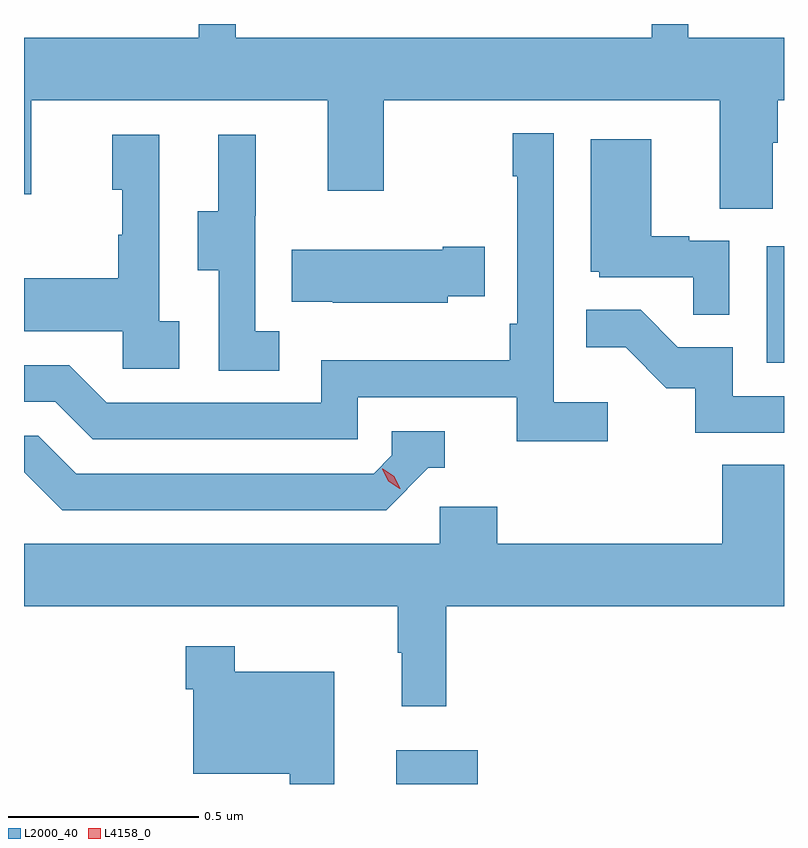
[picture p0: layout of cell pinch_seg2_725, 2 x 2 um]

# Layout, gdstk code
import gdstk
lib = gdstk.Library(unit=1e-6, precision=1e-09)
def R(c, l, rs):  # rectangles x0, y0, x1, y1
    for r in rs: c.add(gdstk.rectangle(r[:2], r[2:], *l))
def P(c, l, *ps):  # polygons
    for p in ps: c.add(gdstk.Polygon(p, *l))
L2000_40 = (2000, 40)
L4158_0 = (4158, 0)

pinch_seg2_725 = lib.new_cell('pinch_seg2_725')
R(pinch_seg2_725, L2000_40, [(1139.189,591.224,1139.404,591.313), (1140.164,592.332,1140.21,592.639)])
P(pinch_seg2_725, L2000_40, [(1140.181,592.912),(1140.194,592.912),(1140.194,593.024),(1140.21,593.024),(1140.21,593.188),(1139.958,593.188),(1139.958,593.224),(1139.862,593.224),(1139.862,593.188),(1138.767,593.188),(1138.767,593.224),(1138.67,593.224),(1138.67,593.188),(1138.21,593.188),(1138.21,592.776),(1138.229,592.776),(1138.229,593.024),(1139.009,593.024),(1139.009,592.785),(1139.157,592.785),(1139.157,593.024),(1140.041,593.024),(1140.041,592.738),(1140.181,592.738)],
  [(1139.746,592.228),(1139.604,592.228),(1139.604,592.936),(1139.496,592.936),(1139.496,592.823),(1139.508,592.823),(1139.508,592.435),(1139.488,592.435),(1139.488,592.339),(1138.992,592.339),(1138.992,592.227),(1138.428,592.227),(1138.329,592.326),(1138.21,592.326),(1138.21,592.23),(1138.292,592.23),(1138.391,592.131),(1139.088,592.131),(1139.088,592.242),(1139.507,592.242),(1139.507,592.126),(1139.746,592.126)],
  [(1138.882,592.415),(1138.818,592.415),(1138.818,592.719),(1138.82,592.719),(1138.82,592.933),(1138.721,592.933),(1138.721,592.731),(1138.667,592.731),(1138.667,592.576),(1138.722,592.576),(1138.722,592.312),(1138.882,592.312)],
  [(1138.618,592.442),(1138.566,592.442),(1138.566,592.933),(1138.442,592.933),(1138.442,592.788),(1138.468,592.788),(1138.468,592.67),(1138.458,592.67),(1138.458,592.555),(1138.21,592.555),(1138.21,592.415),(1138.47,592.415),(1138.47,592.317),(1138.618,592.317)],
  [(1140.066,592.653),(1139.96,592.653),(1139.96,592.666),(1139.86,592.666),(1139.86,592.921),(1139.702,592.921),(1139.702,592.572),(1139.724,592.572),(1139.724,592.557),(1139.971,592.557),(1139.971,592.459),(1140.066,592.459)],
  [(1139.325,592.508),(1139.423,592.508),(1139.423,592.638),(1139.312,592.638),(1139.312,592.63),(1138.915,592.63),(1138.915,592.493),(1139.023,592.493),(1139.023,592.49),(1139.325,592.49)],
  [(1140.21,592.245),(1140.075,592.245),(1140.075,592.374),(1139.931,592.374),(1139.833,592.472),(1139.689,592.472),(1139.689,592.373),(1139.793,592.373),(1139.9,592.266),(1139.977,592.266),(1139.977,592.149),(1140.21,592.149)],
  [(1139.274,592.056),(1139.317,592.056),(1139.317,592.152),(1139.178,592.152),(1139.178,592.089),(1139.13,592.041),(1138.347,592.041),(1138.248,592.14),(1138.21,592.14),(1138.21,592.044),(1138.211,592.044),(1138.31,591.945),(1139.163,591.945)],
  [(1139.321,591.692),(1140.21,591.692),(1140.21,592.064),(1140.047,592.064),(1140.047,591.856),(1139.456,591.856),(1139.456,591.954),(1139.304,591.954),(1139.304,591.856),(1138.21,591.856),(1138.21,591.692),(1139.193,591.692),(1139.193,591.569),(1139.204,591.569),(1139.204,591.429),(1139.321,591.429)],
  [(1139.026,591.52),(1138.765,591.52),(1138.765,591.586),(1138.636,591.586),(1138.636,591.473),(1138.656,591.473),(1138.656,591.251),(1138.909,591.251),(1138.909,591.224),(1139.026,591.224)])
P(pinch_seg2_725, L4158_0, [(1139.199,592.001),(1139.169,592.021),(1139.153,592.054),(1139.153,592.054),(1139.154,592.054),(1139.184,592.034),(1139.2,592.002),(1139.2,592.001)])

lib.write_gds('pinch_seg2_725.gds')
